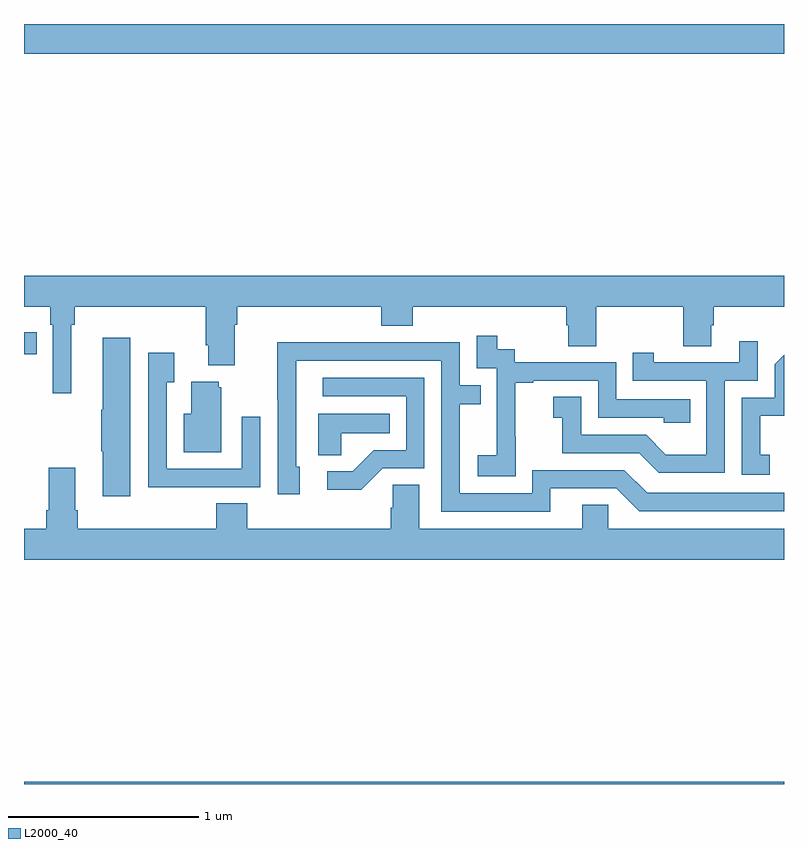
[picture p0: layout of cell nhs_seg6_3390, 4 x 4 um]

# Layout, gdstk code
import gdstk
lib = gdstk.Library(unit=1e-6, precision=1e-09)
def R(c, l, rs):  # rectangles x0, y0, x1, y1
    for r in rs: c.add(gdstk.rectangle(r[:2], r[2:], *l))
def P(c, l, *ps):  # polygons
    for p in ps: c.add(gdstk.Polygon(p, *l))
L2000_40 = (2000, 40)

nhs_seg6_3390 = lib.new_cell('nhs_seg6_3390')
R(nhs_seg6_3390, L2000_40, [(311,935.5,315,935.512), (311,937.762,311.066,937.878), (311,939.344,315,939.5)])
P(nhs_seg6_3390, L2000_40, [(311,938.012),(311.138,938.012),(311.138,937.916),(311.151,937.916),(311.151,937.557),(311.248,937.557),(311.248,937.916),(311.267,937.916),(311.267,938.012),(311.957,938.012),(311.957,937.81),(311.969,937.81),(311.969,937.703),(312.109,937.703),(312.109,937.916),(312.122,937.916),(312.122,938.012),(312.881,938.012),(312.881,937.913),(313.046,937.913),(313.046,938.012),(313.853,938.012),(313.853,937.914),(313.865,937.914),(313.865,937.804),(314.013,937.804),(314.013,938.012),(314.47,938.012),(314.47,937.804),(314.617,937.804),(314.617,937.914),(314.63,937.914),(314.63,938.012),(315,938.012),(315,938.176),(311,938.176)],
  [(313.587,937.327),(313.586,937.327),(313.586,937.611),(313.681,937.611),(313.681,937.623),(314.022,937.623),(314.022,937.428),(314.367,937.428),(314.367,937.401),(314.507,937.401),(314.507,937.524),(314.118,937.524),(314.118,937.719),(313.584,937.719),(313.584,937.788),(313.492,937.788),(313.492,937.858),(313.383,937.858),(313.383,937.689),(313.488,937.689),(313.488,937.46),(313.487,937.46),(313.487,937.231),(313.389,937.231),(313.389,937.121),(313.587,937.121)],
  [(311.56,937.849),(311.414,937.849),(311.414,937.469),(311.407,937.469),(311.407,937.252),(311.414,937.252),(311.414,937.014),(311.56,937.014)],
  [(314.688,937.623),(314.862,937.623),(314.862,937.831),(314.765,937.831),(314.765,937.719),(314.314,937.719),(314.314,937.771),(314.203,937.771),(314.203,937.623),(314.592,937.623),(314.592,937.234),(314.378,937.234),(314.274,937.338),(313.932,937.338),(313.932,937.537),(313.785,937.537),(313.785,937.427),(313.834,937.427),(313.834,937.242),(314.237,937.242),(314.342,937.137),(314.688,937.137)],
  [(313.771,937.056),(314.118,937.056),(314.238,936.936),(315,936.936),(315,937.032),(314.28,937.032),(314.16,937.152),(313.674,937.152),(313.674,937.029),(313.293,937.029),(313.293,937.498),(313.403,937.498),(313.403,937.599),(313.293,937.599),(313.293,937.824),(312.797,937.824),(312.797,937.826),(312.334,937.826),(312.334,937.519),(312.336,937.519),(312.336,937.026),(312.451,937.026),(312.451,937.17),(312.432,937.17),(312.432,937.728),(313.197,937.728),(313.197,936.933),(313.771,936.933)],
  [(311.927,937.062),(312.243,937.062),(312.243,937.432),(312.147,937.432),(312.147,937.158),(311.751,937.158),(311.751,937.615),(311.791,937.615),(311.791,937.771),(311.655,937.771),(311.655,937.061),(311.927,937.061)],
  [(314.924,937.233),(314.875,937.233),(314.875,937.437),(315,937.437),(315,937.758),(314.952,937.71),(314.952,937.533),(314.778,937.533),(314.778,937.128),(314.924,937.128)],
  [(312.888,937.161),(313.107,937.161),(313.107,937.638),(312.573,937.638),(312.573,937.542),(313.011,937.542),(313.011,937.257),(312.842,937.257),(312.731,937.146),(312.597,937.146),(312.597,937.049),(312.775,937.049)],
  [(312.037,937.587),(312.026,937.587),(312.026,937.618),(311.879,937.618),(311.879,937.45),(311.84,937.45),(311.84,937.247),(312.037,937.247)],
  [(312.669,937.346),(312.926,937.346),(312.926,937.45),(312.548,937.45),(312.548,937.231),(312.669,937.231)],
  [(315,936.844),(314.076,936.844),(314.076,936.971),(313.937,936.971),(313.937,936.844),(313.081,936.844),(313.081,937.076),(312.942,937.076),(312.942,936.953),(312.929,936.953),(312.929,936.844),(312.176,936.844),(312.176,936.977),(312.011,936.977),(312.011,936.844),(311.282,936.844),(311.282,936.94),(311.269,936.94),(311.269,937.165),(311.129,937.165),(311.129,936.94),(311.117,936.94),(311.117,936.844),(311,936.844),(311,936.68),(315,936.68)])

lib.write_gds('nhs_seg6_3390.gds')
